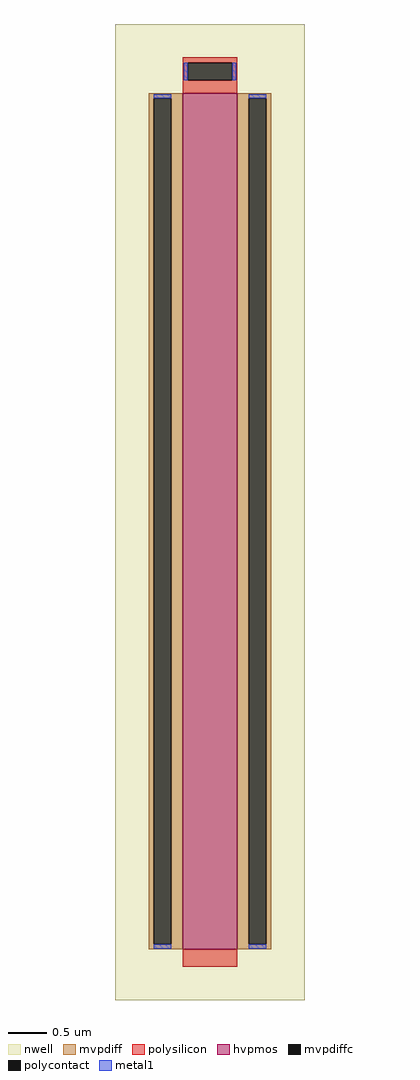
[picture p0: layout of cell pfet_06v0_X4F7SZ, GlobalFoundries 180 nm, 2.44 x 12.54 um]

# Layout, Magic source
magic
tech gf180mcuD
magscale 1 10
<< nwell >>
rect -244 -1254 244 1254
<< hvpmos >>
rect -70 -1124 70 1076
<< mvpdiff >>
rect -158 1063 -70 1076
rect -158 -1111 -145 1063
rect -99 -1111 -70 1063
rect -158 -1124 -70 -1111
rect 70 1063 158 1076
rect 70 -1111 99 1063
rect 145 -1111 158 1063
rect 70 -1124 158 -1111
<< mvpdiffc >>
rect -145 -1111 -99 1063
rect 99 -1111 145 1063
<< polysilicon >>
rect -70 1155 70 1168
rect -70 1109 -57 1155
rect 57 1109 70 1155
rect -70 1076 70 1109
rect -70 -1168 70 -1124
<< polycontact >>
rect -57 1109 57 1155
<< metal1 >>
rect -68 1109 -57 1155
rect 57 1109 68 1155
rect -145 1063 -99 1074
rect -145 -1122 -99 -1111
rect 99 1063 145 1074
rect 99 -1122 145 -1111
<< properties >>
string gencell pfet_06v0
string library gf180mcu
string parameters w 11 l 0.7 m 1 nf 1 diffcov 100 polycov 100 guard 0 glc 0 grc 0 gtc 0 gbc 0 tbcov 100 rlcov 100 topc 1 botc 0 poverlap 0 doverlap 1 lmin 0.55 wmin 0.3 class mosfet full_metal 0 compatible {pfet_03v3 pfet_05v0 pfet_06v0}
<< end >>
